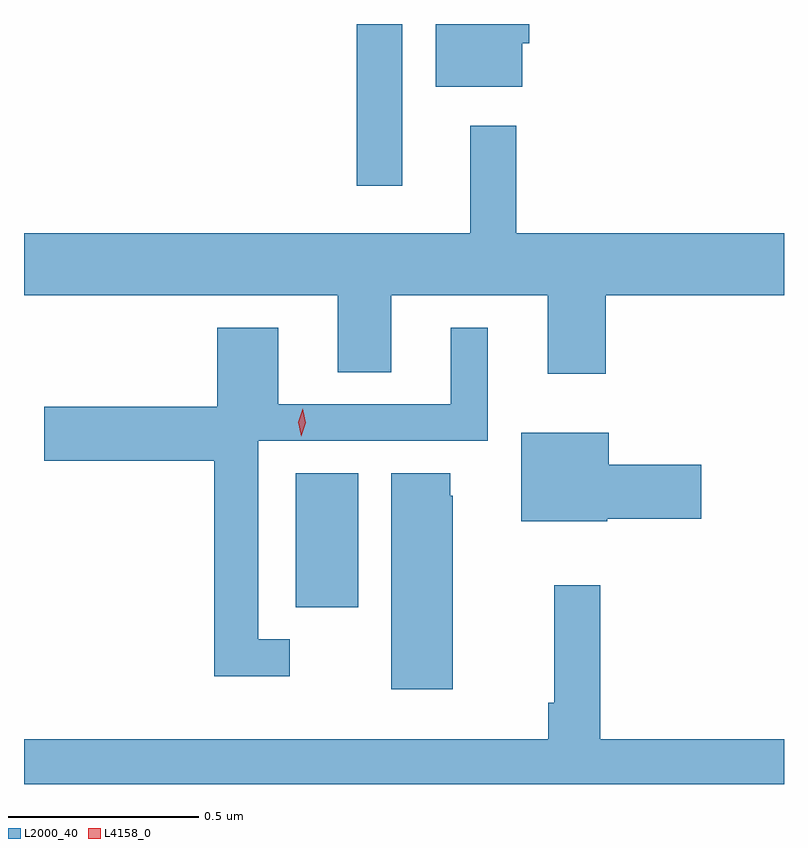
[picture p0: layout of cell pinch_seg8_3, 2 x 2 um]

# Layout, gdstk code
import gdstk
lib = gdstk.Library(unit=1e-6, precision=1e-09)
def R(c, l, rs):  # rectangles x0, y0, x1, y1
    for r in rs: c.add(gdstk.rectangle(r[:2], r[2:], *l))
def P(c, l, *ps):  # polygons
    for p in ps: c.add(gdstk.Polygon(p, *l))
L2000_40 = (2000, 40)
L4158_0 = (4158, 0)

pinch_seg8_3 = lib.new_cell('pinch_seg8_3')
R(pinch_seg8_3, L2000_40, [(1005.158,1140.987,1005.322,1141.34), (1005.318,1142.097,1005.439,1142.522)])
P(pinch_seg8_3, L2000_40, [(1005.754,1142.472),(1005.772,1142.472),(1005.772,1142.522),(1005.527,1142.522),(1005.527,1142.357),(1005.754,1142.357)],
  [(1005.974,1141.808),(1006.443,1141.808),(1006.443,1141.972),(1005.739,1141.972),(1005.739,1142.254),(1005.617,1142.254),(1005.617,1141.972),(1004.443,1141.972),(1004.443,1141.808),(1005.269,1141.808),(1005.269,1141.606),(1005.409,1141.606),(1005.409,1141.808),(1005.821,1141.808),(1005.821,1141.602),(1005.974,1141.602)],
  [(1005.142,1140.903),(1005.06,1140.903),(1005.06,1141.425),(1005.664,1141.425),(1005.664,1141.723),(1005.566,1141.723),(1005.566,1141.521),(1005.112,1141.521),(1005.112,1141.723),(1004.951,1141.723),(1004.951,1141.515),(1004.496,1141.515),(1004.496,1141.373),(1004.944,1141.373),(1004.944,1140.806),(1005.142,1140.806)],
  [(1005.978,1141.22),(1006.225,1141.22),(1006.225,1141.362),(1005.982,1141.362),(1005.982,1141.447),(1005.752,1141.447),(1005.752,1141.214),(1005.978,1141.214)],
  [(1005.571,1141.281),(1005.565,1141.281),(1005.565,1141.34),(1005.41,1141.34),(1005.41,1140.771),(1005.571,1140.771)],
  [(1006.443,1140.64),(1005.959,1140.64),(1005.959,1141.045),(1005.838,1141.045),(1005.838,1140.736),(1005.823,1140.736),(1005.823,1140.64),(1004.443,1140.64),(1004.443,1140.522),(1006.443,1140.522)])
P(pinch_seg8_3, L4158_0, [(1005.173,1141.437),(1005.173,1141.437),(1005.165,1141.474),(1005.176,1141.509),(1005.176,1141.51),(1005.176,1141.509),(1005.184,1141.473),(1005.173,1141.437)])

lib.write_gds('pinch_seg8_3.gds')
